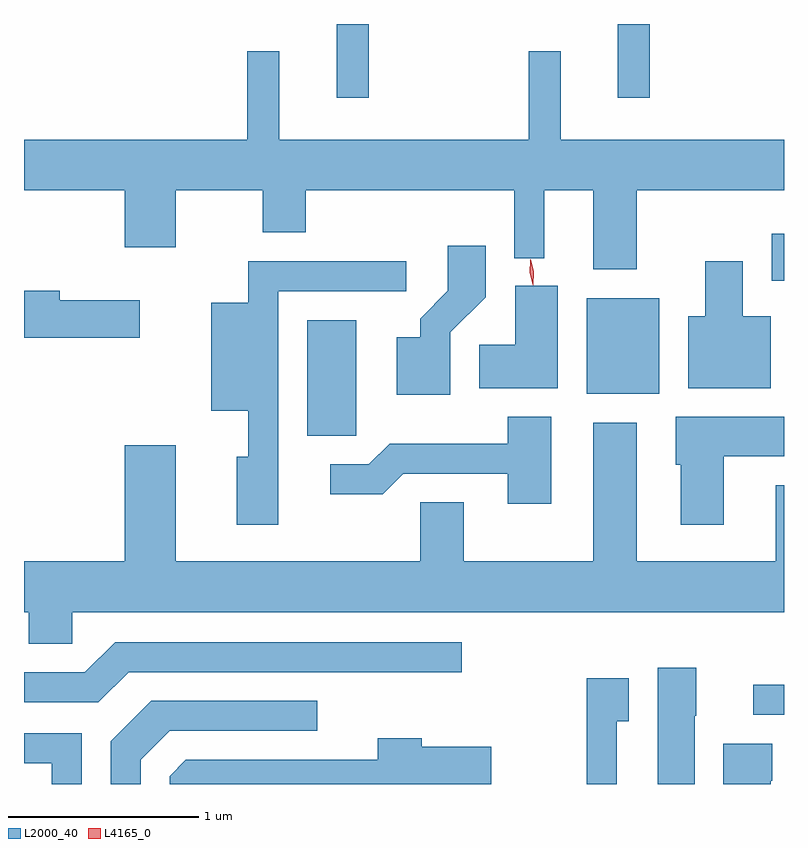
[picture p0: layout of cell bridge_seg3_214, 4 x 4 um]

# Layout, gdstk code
import gdstk
lib = gdstk.Library(unit=1e-6, precision=1e-09)
def R(c, l, rs):  # rectangles x0, y0, x1, y1
    for r in rs: c.add(gdstk.rectangle(r[:2], r[2:], *l))
def P(c, l, *ps):  # polygons
    for p in ps: c.add(gdstk.Polygon(p, *l))
L2000_40 = (2000, 40)
L4165_0 = (4165, 0)

bridge_seg3_214 = lib.new_cell('bridge_seg3_214')
R(bridge_seg3_214, L2000_40, [(957.643,1154.336,957.805,1154.494), (955.296,1155.806,955.554,1156.414), (956.766,1156.026,957.149,1156.529), (957.741,1156.621,957.805,1156.869), (955.451,1157.583,955.619,1157.972), (956.931,1157.583,957.099,1157.972)])
P(bridge_seg3_214, L2000_40, [(957.029,1157.096),(957.805,1157.096),(957.805,1157.364),(956.629,1157.364),(956.629,1157.828),(956.461,1157.828),(956.461,1157.364),(955.149,1157.364),(955.149,1157.828),(954.981,1157.828),(954.981,1157.364),(953.805,1157.364),(953.805,1157.096),(954.336,1157.096),(954.336,1156.796),(954.604,1156.796),(954.604,1157.096),(955.061,1157.096),(955.061,1156.876),(955.289,1156.876),(955.289,1157.096),(956.386,1157.096),(956.386,1156.738),(956.544,1156.738),(956.544,1157.096),(956.801,1157.096),(956.801,1156.681),(957.029,1156.681)],
  [(956.049,1156.349),(956.234,1156.534),(956.234,1156.804),(956.036,1156.804),(956.036,1156.567),(955.891,1156.422),(955.891,1156.324),(955.766,1156.324),(955.766,1156.021),(956.049,1156.021)],
  [(955.144,1156.566),(955.818,1156.566),(955.818,1156.724),(954.986,1156.724),(954.986,1156.504),(954.791,1156.504),(954.791,1155.936),(954.986,1155.936),(954.986,1155.694),(954.926,1155.694),(954.926,1155.336),(955.144,1155.336)],
  [(957.734,1156.434),(957.589,1156.434),(957.589,1156.724),(957.391,1156.724),(957.391,1156.434),(957.301,1156.434),(957.301,1156.056),(957.734,1156.056)],
  [(956.614,1156.594),(956.391,1156.594),(956.391,1156.284),(956.201,1156.284),(956.201,1156.056),(956.614,1156.056)],
  [(954.414,1156.519),(953.994,1156.519),(953.994,1156.569),(953.805,1156.569),(953.805,1156.321),(954.414,1156.321)],
  [(956.579,1155.904),(956.351,1155.904),(956.351,1155.764),(955.729,1155.764),(955.619,1155.654),(955.418,1155.654),(955.418,1155.496),(955.692,1155.496),(955.802,1155.606),(956.351,1155.606),(956.351,1155.446),(956.579,1155.446)],
  [(957.489,1155.696),(957.805,1155.696),(957.805,1155.904),(957.236,1155.904),(957.236,1155.651),(957.261,1155.651),(957.261,1155.336),(957.489,1155.336)],
  [(954.059,1154.876),(957.805,1154.876),(957.805,1155.544),(957.761,1155.544),(957.761,1155.144),(957.029,1155.144),(957.029,1155.874),(956.801,1155.874),(956.801,1155.144),(956.119,1155.144),(956.119,1155.454),(955.891,1155.454),(955.891,1155.144),(954.604,1155.144),(954.604,1155.754),(954.336,1155.754),(954.336,1155.144),(953.805,1155.144),(953.805,1154.876),(953.831,1154.876),(953.831,1154.711),(954.059,1154.711)],
  [(954.357,1154.561),(956.108,1154.561),(956.108,1154.719),(954.284,1154.719),(954.124,1154.559),(953.805,1154.559),(953.805,1154.401),(954.197,1154.401)],
  [(957.334,1154.33),(957.344,1154.33),(957.344,1154.584),(957.141,1154.584),(957.141,1153.972),(957.334,1153.972)],
  [(956.924,1154.301),(956.989,1154.301),(956.989,1154.529),(956.766,1154.529),(956.766,1153.972),(956.924,1153.972)],
  [(954.419,1154.099),(954.572,1154.251),(955.348,1154.251),(955.348,1154.409),(954.474,1154.409),(954.261,1154.197),(954.261,1153.972),(954.419,1153.972)],
  [(954.109,1154.239),(953.805,1154.239),(953.805,1154.081),(953.951,1154.081),(953.951,1153.972),(954.109,1153.972)],
  [(956.264,1154.169),(955.899,1154.169),(955.899,1154.214),(955.666,1154.214),(955.666,1154.099),(954.657,1154.099),(954.571,1154.014),(954.571,1153.972),(956.264,1153.972)],
  [(957.734,1153.99),(957.744,1153.99),(957.744,1154.184),(957.486,1154.184),(957.486,1153.972),(957.734,1153.972)])
P(bridge_seg3_214, L4165_0, [(956.482,1156.6),(956.466,1156.664),(956.469,1156.731),(956.47,1156.732),(956.47,1156.731),(956.486,1156.666),(956.483,1156.6),(956.483,1156.6)],
  [(956.486,1156.597),(956.485,1156.598),(956.469,1156.665),(956.472,1156.735),(956.472,1156.735),(956.473,1156.735),(956.489,1156.667),(956.486,1156.598)])

lib.write_gds('bridge_seg3_214.gds')
